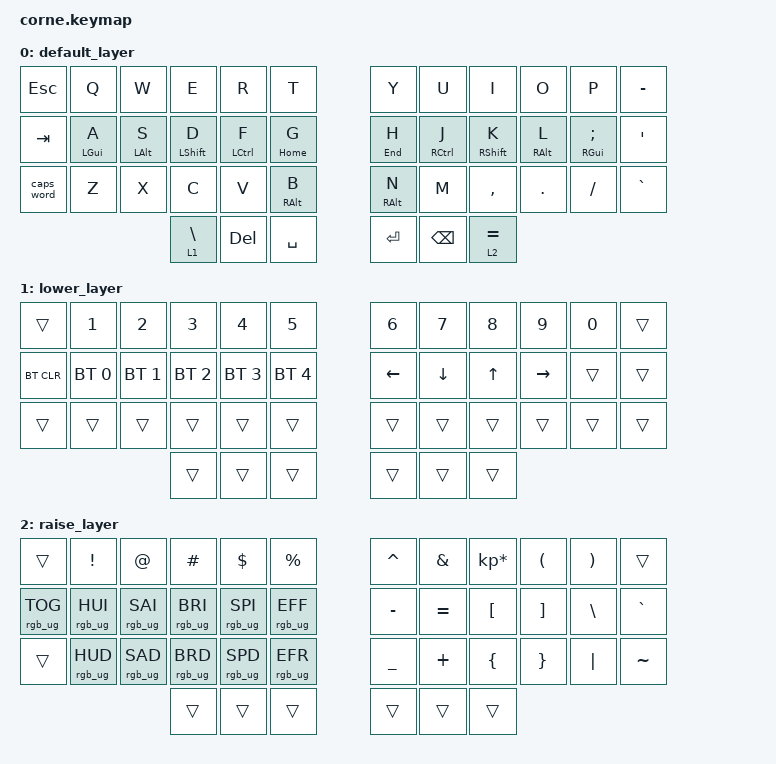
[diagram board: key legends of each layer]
/*
 * Copyright (c) 2020 The ZMK Contributors
 *
 * SPDX-License-Identifier: MIT
 */

#include <behaviors.dtsi>
#include <dt-bindings/led/led.h>
#include <dt-bindings/zmk/bt.h>
#include <dt-bindings/zmk/keys.h>
#include <dt-bindings/zmk/rgb.h>

&led_strip {
    chain-length = <6>;
};

/ {
    chosen {
        zmk,underglow = &led_strip;
    };

    behaviors {
        hmr: hmr {
            compatible = "zmk,behavior-hold-tap";
            label = "HMR";
            bindings = <&kp>, <&kp>;

            #binding-cells = <2>;
            tapping-term-ms = <250>;
            quick-tap-ms = <175>;
            flavor = "balanced";
            hold-trigger-on-release;
            hold-trigger-key-positions = <38 0 1 2 3 4 5 12 13 14 15 16 17 24 25 26 27 28 29 36 37 38 39 40 41>;
            require-prior-idle-ms = <150>;
        };

        hml: hml {
            compatible = "zmk,behavior-hold-tap";
            label = "HML";
            bindings = <&kp>, <&kp>;

            #binding-cells = <2>;
            tapping-term-ms = <250>;
            quick-tap-ms = <175>;
            flavor = "balanced";
            hold-trigger-on-release;
            hold-trigger-key-positions = <38 36 37 38 39 40 41 6 7 8 9 10 11 18 19 20 21 22 23 30 31 32 33 34 35>;
            require-prior-idle-ms = <150>;
        };
    };

    keymap {
        compatible = "zmk,keymap";

        default_layer {
            // -----------------------------------------------------------------------------------------
            // |  TAB |  Q  |  W  |  E  |  R  |  T  |   |  Y  |  U   |  I  |  O  |  P  | BKSP |
            // | CTRL |  A  |  S  |  D  |  F  |  G  |   |  H  |  J   |  K  |  L  |  ;  |  '   |
            // | SHFT |  Z  |  X  |  C  |  V  |  B  |   |  N  |  M   |  ,  |  .  |  /  | ESC  |
            //                    | GUI | LWR | SPC |   | ENT | RSE  | ALT |

            bindings = <
&kp ESC     &kp Q        &kp W            &kp E         &kp R         &kp T          &kp Y        &kp U         &kp I         &kp O        &kp P                &kp MINUS
&kp TAB     &hml LGUI A  &hml LEFT_ALT S  &hml LSHFT D  &hml LCTRL F  &hml HOME G    &hmr END H   &hmr RCTRL J  &hmr RSHFT K  &hmr RALT L  &hmr RGUI SEMICOLON  &kp SQT
&caps_word  &kp Z        &kp X            &kp C         &kp V         &hml RALT B    &hmr RALT N  &kp M         &kp COMMA     &kp DOT      &kp FSLH             &kp GRAVE
                                          &lt 1 BSLH    &kp DELETE    &kp SPACE      &kp RET      &kp BSPC      &lt 2 EQUAL
            >;
        };

        lower_layer {
            // -----------------------------------------------------------------------------------------
            // |  TAB |  1  |  2  |  3  |  4  |  5  |   |  6  |  7  |  8  |  9  |  0  | BKSP |
            // | BTCLR| BT1 | BT2 | BT3 | BT4 | BT5 |   | LFT | DWN |  UP | RGT |     |      |
            // | SHFT |     |     |     |     |     |   |     |     |     |     |     |      |
            //                    | GUI |     | SPC |   | ENT |     | ALT |

            bindings = <
&trans      &kp N1        &kp N2        &kp N3        &kp N4        &kp N5          &kp N6    &kp N7    &kp N8  &kp N9     &kp N0  &trans
&bt BT_CLR  &bt BT_SEL 0  &bt BT_SEL 1  &bt BT_SEL 2  &bt BT_SEL 3  &bt BT_SEL 4    &kp LEFT  &kp DOWN  &kp UP  &kp RIGHT  &trans  &trans
&trans      &trans        &trans        &trans        &trans        &trans          &trans    &trans    &trans  &trans     &trans  &trans
                                        &trans        &trans        &trans          &trans    &trans    &trans
            >;
        };

        raise_layer {
            // -----------------------------------------------------------------------------------------
            // |  TAB |  !  |  @  |  #  |  $  |  %  |   |  ^  |  &  |  *  |  (  |  )  | BKSP |
            // | CTRL |     |     |     |     |     |   |  -  |  =  |  [  |  ]  |  \  |  `   |
            // | SHFT |     |     |     |     |     |   |  _  |  +  |  {  |  }  | "|" |  ~   |
            //                    | GUI |     | SPC |   | ENT |     | ALT |

            bindings = <
&trans           &kp EXCL         &kp AT           &kp HASH         &kp DLLR         &kp PRCNT          &kp CARET  &kp AMPS   &kp KP_MULTIPLY  &kp LPAR  &kp RPAR  &trans
&rgb_ug RGB_TOG  &rgb_ug RGB_HUI  &rgb_ug RGB_SAI  &rgb_ug RGB_BRI  &rgb_ug RGB_SPI  &rgb_ug RGB_EFF    &kp MINUS  &kp EQUAL  &kp LBKT         &kp RBKT  &kp BSLH  &kp GRAVE
&trans           &rgb_ug RGB_HUD  &rgb_ug RGB_SAD  &rgb_ug RGB_BRD  &rgb_ug RGB_SPD  &rgb_ug RGB_EFR    &kp UNDER  &kp PLUS   &kp LBRC         &kp RBRC  &kp PIPE  &kp TILDE
                                                   &trans           &trans           &trans             &trans     &trans     &trans
            >;
        };
    };
};
